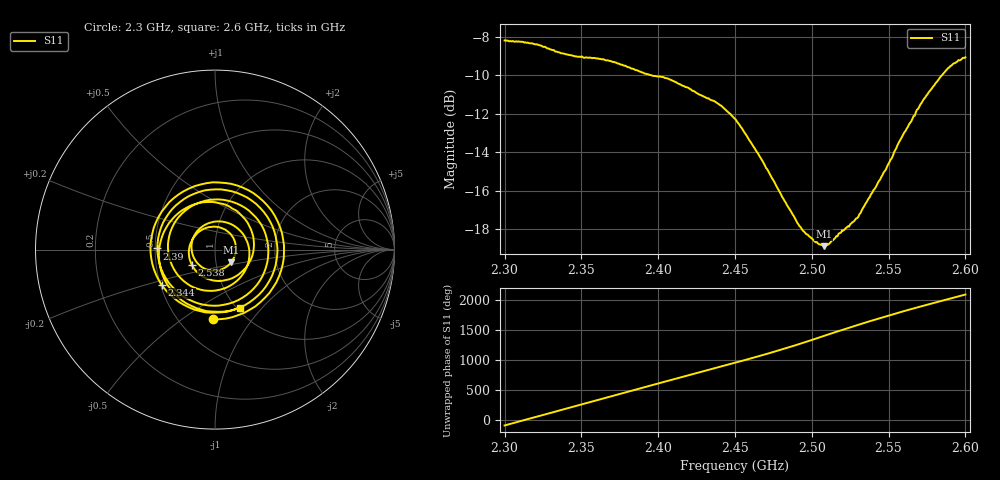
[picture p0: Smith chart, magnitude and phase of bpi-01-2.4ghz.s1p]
! NanoVNA-App
! Date: 2026-05-22 17:51:34
! Start: 2.3GHz Stop: 2.6GHz Points: 401
! S-Parameter data: F S11
# Hz S RI R 50
!  Frequency  S11_Real  S11_Imag
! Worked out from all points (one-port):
!   401 points, 2.3 GHz to 2.6 GHz, reference 50 ohm
!   lowest |S11| = -18.9 dB at 2.508 GHz (marker M1), VSWR 1.26, Z = 59.1 - j8.5 ohm
!   |S11| at or under -10 dB: 2.396 GHz to 2.585 GHz (189.2 MHz wide, 7.6 % of centre)
!   S11 on the Smith chart (normalised r, x): 2.3 GHz: 0.72, -0.66; 2.344 GHz: 0.51, -0.23; 2.39 GHz: 0.51, +0.01; 2.538 GHz: 0.76, -0.14; 2.6 GHz: 1.04, -0.77
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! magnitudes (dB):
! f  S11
! 2.3 GHz  -8.2
! 2.32 GHz  -8.4
! 2.337 GHz  -8.9
! 2.344 GHz  -9.0
! 2.363 GHz  -9.2
! 2.375 GHz  -9.4
! 2.39 GHz  -9.9
! 2.405 GHz  -10.1
! 2.413 GHz  -10.4
! 2.438 GHz  -11.4
! 2.45 GHz  -12.3
! 2.466 GHz  -14.3
! 2.487 GHz  -17.2
! 2.491 GHz  -17.7
! 2.495 GHz  -18.1
! 2.503 GHz  -18.7
! 2.508 GHz  -18.9
! 2.511 GHz  -18.8
! 2.525 GHz  -17.7
! 2.531 GHz  -17.2
! 2.538 GHz  -16.2
! 2.549 GHz  -14.7
! 2.557 GHz  -13.4
! 2.562 GHz  -12.7
! 2.572 GHz  -11.3
! 2.585 GHz  -10.0
! 2.591 GHz  -9.5
! 2.6 GHz  -9.1
